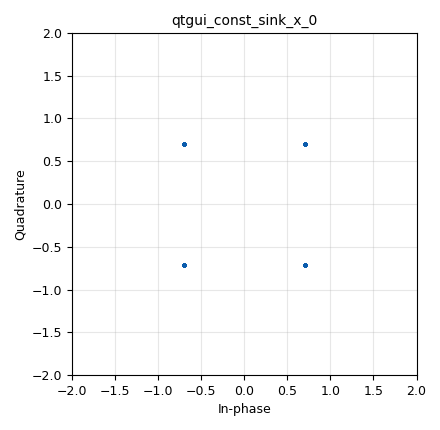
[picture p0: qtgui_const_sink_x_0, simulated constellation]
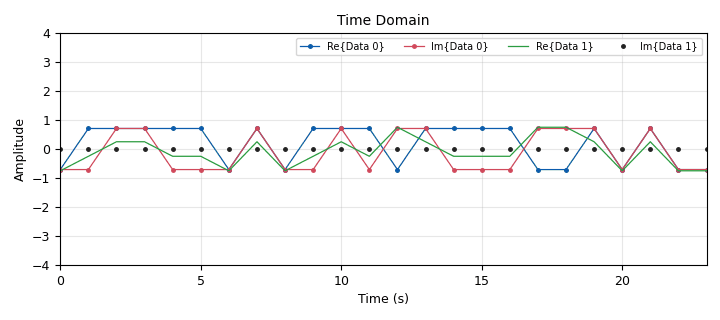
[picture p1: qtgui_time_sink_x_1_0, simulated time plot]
<?xml version='1.0' encoding='utf-8'?>
<?grc format='1' created='3.7.12'?>
<flow_graph>
<block>
<key>options</key>
<param><key>id</key><value>top_block</value></param>
<param><key>generate_options</key><value>qt_gui</value></param>
</block>
<block>
<key>variable</key>
<param><key>id</key><value>bps</value></param>
<param><key>value</key><value>constel.bits_per_symbol()</value></param>
</block>
<block>
<key>variable_constellation</key>
<param><key>id</key><value>constel</value></param>
<param><key>const_points</key><value>digital.psk_2()[0]</value></param>
<param><key>type</key><value>qpsk</value></param>
<param><key>soft_dec_lut</key><value>'auto'</value></param>
<param><key>precision</key><value>8</value></param>
<param><key>sym_map</key><value>digital.psk_2()[1]</value></param>
</block>
<block>
<key>variable</key>
<param><key>id</key><value>corr_sequence</value></param>
<param><key>value</key><value>((0.7071070075035095-0.7071070075035095j), (-0.7071070075035095+0.7071070075035095j), (-0.7071070075035095+0.7071070075035095j), (0.7071070075035095+0.7071070075035095j), (-0.7071070075035095-0.7071070075035095j), (0.7071070075035095+0.7071070075035095j), (-0.7071070075035095-0.7071070075035095j), (-0.7071070075035095-0.7071070075035095j), (-0.7071070075035095-0.7071070075035095j), (0.7071070075035095-0.7071070075035095j), (0.7071070075035095+0.7071070075035095j), (0.7071070075035095+0.7071070075035095j), (0.7071070075035095-0.7071070075035095j), (0.7071070075035095-0.7071070075035095j), (-0.7071070075035095-0.7071070075035095j), (0.7071070075035095+0.7071070075035095j), (-0.7071070075035095-0.7071070075035095j), (0.7071070075035095-0.7071070075035095j), (0.7071070075035095+0.7071070075035095j), (0.7071070075035095-0.7071070075035095j), (-0.7071070075035095+0.7071070075035095j), (0.7071070075035095+0.7071070075035095j), (0.7071070075035095-0.7071070075035095j), (0.7071070075035095-0.7071070075035095j))</value></param>
</block>
<block>
<key>variable</key>
<param><key>id</key><value>corr_sequence_nodiff</value></param>
<param><key>value</key><value>((-0.7071070075035095-0.7071070075035095j), (-0.7071070075035095-0.7071070075035095j), (0.7071070075035095+0.7071070075035095j), (0.7071070075035095-0.7071070075035095j), (-0.7071070075035095+0.7071070075035095j), (-0.7071070075035095-0.7071070075035095j), (-0.7071070075035095-0.7071070075035095j), (0.7071070075035095+0.7071070075035095j), (-0.7071070075035095-0.7071070075035095j), (0.7071070075035095-0.7071070075035095j), (0.7071070075035095+0.7071070075035095j), (-0.7071070075035095+0.7071070075035095j), (-0.7071070075035095+0.7071070075035095j), (-0.7071070075035095+0.7071070075035095j), (0.7071070075035095-0.7071070075035095j), (-0.7071070075035095+0.7071070075035095j), (-0.7071070075035095-0.7071070075035095j), (-0.7071070075035095+0.7071070075035095j), (0.7071070075035095+0.7071070075035095j), (-0.7071070075035095-0.7071070075035095j), (0.7071070075035095-0.7071070075035095j), (-0.7071070075035095+0.7071070075035095j), (0.7071070075035095+0.7071070075035095j), (-0.7071070075035095+0.7071070075035095j))</value></param>
</block>
<block>
<key>variable</key>
<param><key>id</key><value>encoded_sync_word</value></param>
<param><key>value</key><value>(107, 48, 31, 83, 29, 181)</value></param>
</block>
<block>
<key>variable</key>
<param><key>id</key><value>encoded_sync_word_nodiff</value></param>
<param><key>value</key><value>(13, 131, 30, 166, 44, 110)</value></param>
</block>
<block>
<key>variable</key>
<param><key>id</key><value>length</value></param>
<param><key>value</key><value>len(encoded_sync_word)*8/bps</value></param>
</block>
<block>
<key>variable</key>
<param><key>id</key><value>same</value></param>
<param><key>value</key><value>corr_sequence == corr_sequence_nodiff</value></param>
</block>
<block>
<key>variable</key>
<param><key>id</key><value>samp_rate</value></param>
<param><key>value</key><value>32000</value></param>
</block>
<block>
<key>variable_function_probe</key>
<param><key>id</key><value>variable_function_probe_0</value></param>
<param><key>block_id</key><value>blocks_probe_signal_vx_0</value></param>
<param><key>function_name</key><value>level</value></param>
<param><key>value</key><value>0</value></param>
<param><key>poll_rate</key><value>0.25</value></param>
</block>
<block>
<key>variable_function_probe</key>
<param><key>id</key><value>variable_function_probe_0_0</value></param>
<param><key>block_id</key><value>blocks_probe_signal_vx_0_1</value></param>
<param><key>function_name</key><value>level</value></param>
<param><key>value</key><value>0</value></param>
<param><key>poll_rate</key><value>0.25</value></param>
</block>
<block>
<key>variable_qtgui_entry</key>
<param><key>id</key><value>variable_qtgui_entry_0</value></param>
<param><key>value</key><value>variable_function_probe_0</value></param>
<param><key>label</key><value>Blah</value></param>
<param><key>type</key><value>int</value></param>
</block>
<block>
<key>variable_qtgui_entry</key>
<param><key>id</key><value>variable_qtgui_entry_0_0</value></param>
<param><key>value</key><value>variable_function_probe_0_0</value></param>
<param><key>label</key><value>Blah</value></param>
<param><key>type</key><value>int</value></param>
</block>
<block>
<key>blocks_complex_to_arg</key>
<param><key>id</key><value>blocks_complex_to_arg_0</value></param>
</block>
<block>
<key>blocks_float_to_complex</key>
<param><key>id</key><value>blocks_float_to_complex_0</value></param>
</block>
<block>
<key>blocks_head</key>
<param><key>id</key><value>blocks_head_0</value></param>
<param><key>_enabled</key><value>2</value></param>
<param><key>num_items</key><value>len(encoded_sync_word)</value></param>
<param><key>type</key><value>byte</value></param>
</block>
<block>
<key>blocks_multiply_const_vxx</key>
<param><key>id</key><value>blocks_multiply_const_vxx_0</value></param>
<param><key>const</key><value>1./pi</value></param>
<param><key>type</key><value>float</value></param>
</block>
<block>
<key>blocks_probe_signal_vx</key>
<param><key>id</key><value>blocks_probe_signal_vx_0</value></param>
<param><key>type</key><value>complex</value></param>
<param><key>vlen</key><value>length</value></param>
</block>
<block>
<key>blocks_probe_signal_vx</key>
<param><key>id</key><value>blocks_probe_signal_vx_0_1</value></param>
<param><key>type</key><value>byte</value></param>
<param><key>vlen</key><value>length</value></param>
</block>
<block>
<key>blocks_repack_bits_bb</key>
<param><key>id</key><value>blocks_repack_bits_bb_0</value></param>
<param><key>k</key><value>8</value></param>
<param><key>l</key><value>2</value></param>
<param><key>endianness</key><value>gr.GR_MSB_FIRST</value></param>
</block>
<block>
<key>blocks_stream_to_vector</key>
<param><key>id</key><value>blocks_stream_to_vector_0</value></param>
<param><key>type</key><value>complex</value></param>
<param><key>num_items</key><value>length</value></param>
</block>
<block>
<key>blocks_stream_to_vector</key>
<param><key>id</key><value>blocks_stream_to_vector_0_1</value></param>
<param><key>type</key><value>byte</value></param>
<param><key>num_items</key><value>length</value></param>
</block>
<block>
<key>blocks_throttle</key>
<param><key>id</key><value>blocks_throttle_1</value></param>
<param><key>_enabled</key><value>2</value></param>
<param><key>samples_per_second</key><value>samp_rate_rx</value></param>
<param><key>type</key><value>complex</value></param>
</block>
<block>
<key>blocks_vector_sink_x</key>
<param><key>id</key><value>blocks_vector_sink_x_0</value></param>
<param><key>type</key><value>complex</value></param>
<param><key>vlen</key><value>length</value></param>
</block>
<block>
<key>blocks_vector_sink_x</key>
<param><key>id</key><value>blocks_vector_sink_x_0_0</value></param>
<param><key>type</key><value>byte</value></param>
<param><key>vlen</key><value>length</value></param>
</block>
<block>
<key>blocks_vector_source_x</key>
<param><key>id</key><value>blocks_vector_source_x_1</value></param>
<param><key>comment</key><value>Note: the vector source is already conv. encoded.
 This is generated by the "asm_test.grc" file.</value></param>
<param><key>_enabled</key><value>0</value></param>
<param><key>type</key><value>byte</value></param>
<param><key>repeat</key><value>True</value></param>
<param><key>vector</key><value>encoded_sync_word_nodiff</value></param>
</block>
<block>
<key>blocks_vector_source_x</key>
<param><key>id</key><value>blocks_vector_source_x_1_0</value></param>
<param><key>comment</key><value>Differential option</value></param>
<param><key>type</key><value>byte</value></param>
<param><key>repeat</key><value>True</value></param>
<param><key>vector</key><value>encoded_sync_word</value></param>
</block>
<block>
<key>digital_chunks_to_symbols_xx</key>
<param><key>id</key><value>digital_chunks_to_symbols_xx_0</value></param>
<param><key>dimension</key><value>1</value></param>
<param><key>in_type</key><value>byte</value></param>
<param><key>out_type</key><value>complex</value></param>
<param><key>symbol_table</key><value>constel.points()</value></param>
</block>
<block>
<key>import</key>
<param><key>id</key><value>import_pi</value></param>
<param><key>import</key><value>from math import pi</value></param>
</block>
<block>
<key>qtgui_const_sink_x</key>
<param><key>id</key><value>qtgui_const_sink_x_0</value></param>
<param><key>size</key><value>1024</value></param>
<param><key>type</key><value>complex</value></param>
</block>
<block>
<key>qtgui_time_sink_x</key>
<param><key>id</key><value>qtgui_time_sink_x_1_0</value></param>
<param><key>grid</key><value>True</value></param>
<param><key>color1</key><value>"blue"</value></param>
<param><key>label1</key><value></value></param>
<param><key>marker1</key><value>0</value></param>
<param><key>color2</key><value>"red"</value></param>
<param><key>label2</key><value></value></param>
<param><key>marker2</key><value>0</value></param>
<param><key>color3</key><value>"green"</value></param>
<param><key>label3</key><value></value></param>
<param><key>color4</key><value>"black"</value></param>
<param><key>label4</key><value></value></param>
<param><key>style4</key><value>0</value></param>
<param><key>name</key><value>"Time Domain"</value></param>
<param><key>nconnections</key><value>2</value></param>
<param><key>size</key><value>length</value></param>
<param><key>srate</key><value>1</value></param>
<param><key>type</key><value>complex</value></param>
<param><key>ymax</key><value>4</value></param>
<param><key>ymin</key><value>-4</value></param>
</block>
<block>
<key>qtgui_time_sink_x</key>
<param><key>id</key><value>qtgui_time_sink_x_1_0_0</value></param>
<param><key>autoscale</key><value>True</value></param>
<param><key>_enabled</key><value>0</value></param>
<param><key>grid</key><value>True</value></param>
<param><key>color1</key><value>"blue"</value></param>
<param><key>label1</key><value></value></param>
<param><key>marker1</key><value>0</value></param>
<param><key>name</key><value>"Phase"</value></param>
<param><key>size</key><value>length</value></param>
<param><key>srate</key><value>1</value></param>
<param><key>type</key><value>float</value></param>
</block>
<connection><source_block_id>blocks_complex_to_arg_0</source_block_id><sink_block_id>blocks_multiply_const_vxx_0</sink_block_id><source_key>0</source_key><sink_key>0</sink_key></connection>
<connection><source_block_id>blocks_float_to_complex_0</source_block_id><sink_block_id>qtgui_time_sink_x_1_0</sink_block_id><source_key>0</source_key><sink_key>1</sink_key></connection>
<connection><source_block_id>blocks_head_0</source_block_id><sink_block_id>blocks_repack_bits_bb_0</sink_block_id><source_key>0</source_key><sink_key>0</sink_key></connection>
<connection><source_block_id>blocks_multiply_const_vxx_0</source_block_id><sink_block_id>blocks_float_to_complex_0</sink_block_id><source_key>0</source_key><sink_key>0</sink_key></connection>
<connection><source_block_id>blocks_repack_bits_bb_0</source_block_id><sink_block_id>blocks_stream_to_vector_0_1</sink_block_id><source_key>0</source_key><sink_key>0</sink_key></connection>
<connection><source_block_id>blocks_repack_bits_bb_0</source_block_id><sink_block_id>digital_chunks_to_symbols_xx_0</sink_block_id><source_key>0</source_key><sink_key>0</sink_key></connection>
<connection><source_block_id>blocks_stream_to_vector_0</source_block_id><sink_block_id>blocks_probe_signal_vx_0</sink_block_id><source_key>0</source_key><sink_key>0</sink_key></connection>
<connection><source_block_id>blocks_stream_to_vector_0</source_block_id><sink_block_id>blocks_vector_sink_x_0</sink_block_id><source_key>0</source_key><sink_key>0</sink_key></connection>
<connection><source_block_id>blocks_stream_to_vector_0_1</source_block_id><sink_block_id>blocks_probe_signal_vx_0_1</sink_block_id><source_key>0</source_key><sink_key>0</sink_key></connection>
<connection><source_block_id>blocks_stream_to_vector_0_1</source_block_id><sink_block_id>blocks_vector_sink_x_0_0</sink_block_id><source_key>0</source_key><sink_key>0</sink_key></connection>
<connection><source_block_id>blocks_throttle_1</source_block_id><sink_block_id>blocks_complex_to_arg_0</sink_block_id><source_key>0</source_key><sink_key>0</sink_key></connection>
<connection><source_block_id>blocks_throttle_1</source_block_id><sink_block_id>blocks_stream_to_vector_0</sink_block_id><source_key>0</source_key><sink_key>0</sink_key></connection>
<connection><source_block_id>blocks_throttle_1</source_block_id><sink_block_id>qtgui_const_sink_x_0</sink_block_id><source_key>0</source_key><sink_key>0</sink_key></connection>
<connection><source_block_id>blocks_throttle_1</source_block_id><sink_block_id>qtgui_time_sink_x_1_0</sink_block_id><source_key>0</source_key><sink_key>0</sink_key></connection>
<connection><source_block_id>blocks_vector_source_x_1</source_block_id><sink_block_id>blocks_head_0</sink_block_id><source_key>0</source_key><sink_key>0</sink_key></connection>
<connection><source_block_id>blocks_vector_source_x_1_0</source_block_id><sink_block_id>blocks_head_0</sink_block_id><source_key>0</source_key><sink_key>0</sink_key></connection>
<connection><source_block_id>digital_chunks_to_symbols_xx_0</source_block_id><sink_block_id>blocks_throttle_1</sink_block_id><source_key>0</source_key><sink_key>0</sink_key></connection>
</flow_graph>
